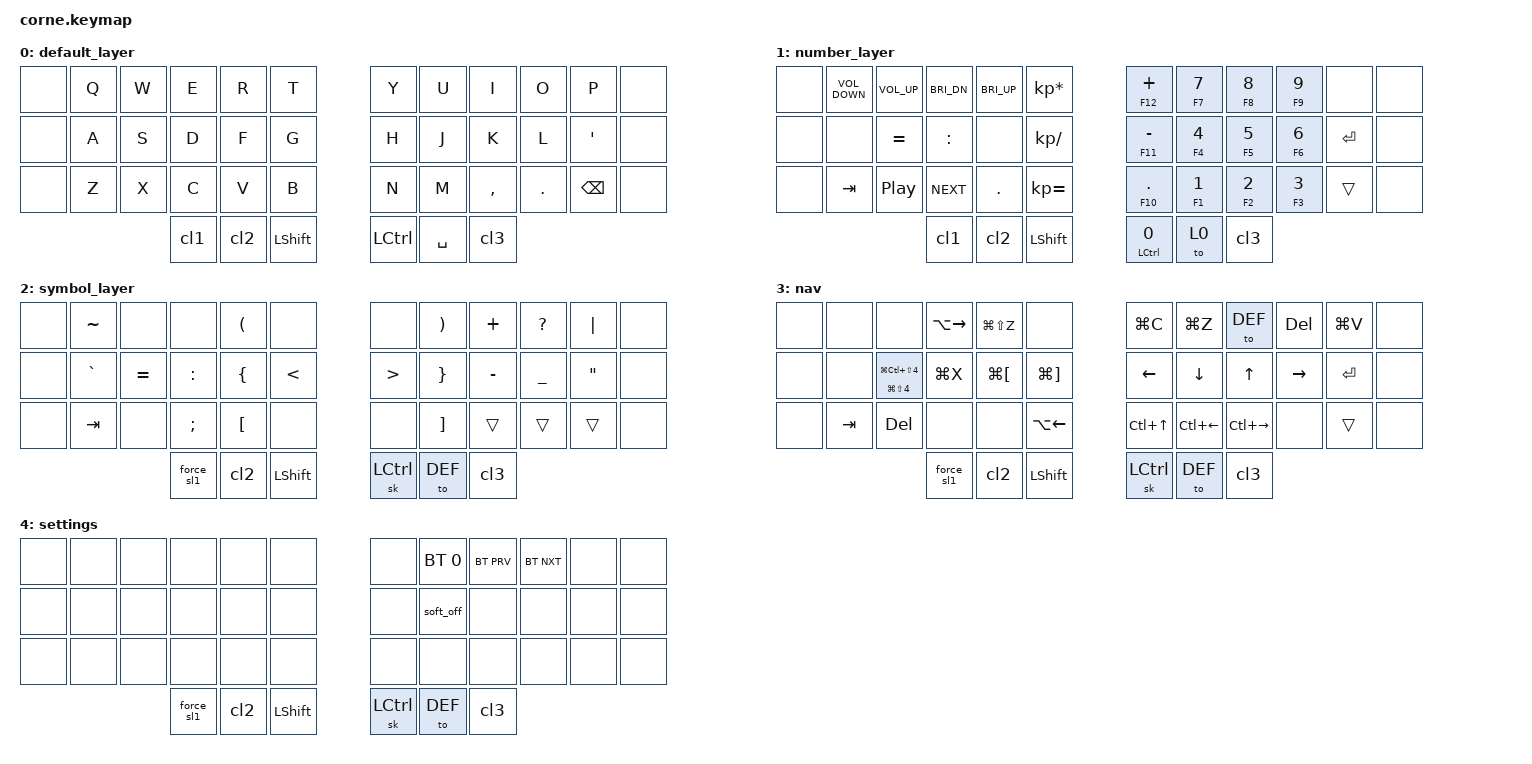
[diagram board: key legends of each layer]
/*=G
 * Copyight (c) 2020 The ZMK Contributors
 *
 * SPDX-License-Identifier: MIT
 */

#include <behaviors.dtsi>
#include <dt-bindings/zmk/keys.h>
#include <dt-bindings/zmk/bt.h>

#define DEF 0  // layer shortcuts, must match order in which they are defined below
#define NUM 1
#define SYM 2
#define NAV 3
#define SET 4

#define MO_TO(layer) &mo_to layer layer   // Macro to apply momentary-layer-on-hold/to-layer-on-tap to a specific layer

&mt {
  flavor = "tap-preferred";
  tapping-term-ms = <300>; 
  quick-tap-ms = <125>;
  
};

/ {
  macros {
      // force_sticky resets to default layer so that higher layers don't take priority
      force_sl1: force_sticky_sl1 {
          label = "JK_force_sticky_sl1";
          compatible = "zmk,behavior-macro";
          #binding-cells = <0>;
          wait-ms = <0>;
          bindings
            = <&to 0>
            , <&cl1>
            ;
      };
      force_sl2: force_sticky_sl2 {
          label = "JK_force_sticky_sl2";
          compatible = "zmk,behavior-macro";
          #binding-cells = <0>;
          wait-ms = <0>;
          bindings
            = <&to 0>
            , <&cl2>
            ;
      };
  };
  behaviors {
    // momentary on hold, toggle on tap
mo_to: behavior_mo_to {
         compatible = "zmk,behavior-hold-tap";
         label = "mo_to";
#binding-cells = <2>;
         flavor = "hold-preferred";
         tapping-term-ms = <200>;
         bindings = <&mo>, <&to>;
       };


ht: hold_tap {
      compatible = "zmk,behavior-hold-tap";
      label = "HOLD_TAP";
#binding-cells = <2>;
      tapping-term-ms = <200>;
      quick-tap-ms = <150>;
      flavor = "tap-preferred";
      bindings = <&kp>, <&kp>;
    };

    // tap: sticky layer 1 | double tap: toggle layer 1
cl1: cl1 {
       compatible = "zmk,behavior-tap-dance";
       label = "TD_LAYER_1";
#binding-cells = <0>;
       tapping-term-ms = <200>;
       bindings = <&sl 1>, <&to 1>;
     };

     // tap: sticky layer 2 | double tap: toggle layer 2
cl2: cl2 {
       compatible = "zmk,behavior-tap-dance";
       label = "TD_LAYER_2";
#binding-cells = <0>;
       tapping-term-ms = <200>;
       bindings = <&sl 2>, <&to 2>;
     };

     // tap: sticky layer 3 | double tap: toggle layer 3
cl3: cl3 {
       compatible = "zmk,behavior-tap-dance";
       label = "TD_LAYER_3";
#binding-cells = <0>;
       tapping-term-ms = <200>;
       bindings = <&sl 3>, <&to 3>;
     };
  };

  keymap {
    compatible = "zmk,keymap";

    default_layer {
      // -----------------------------------------------------------------------------------------
      // | NONE |  Q  |  W  |  E  |  R  |  T  |||||  Y  |  U   |  I  |  O  |  P   | NONE |
      // | NONE |  A  |  S  |  D  |  F  |  G  |||||  H  |  J   |  K  |  L  |  '   | NONE |
      // | NONE |  Z  |  X  |  C  |  V  |  B  |||||  N  |  M   |  ,  |  .  | BSPC | NONE |
      //                    | num | sym | SHFT||||| CTRL | SPC  | NAV |

      bindings = <
        &none   &kp Q   &kp W   &kp E   &kp R      &kp T      &kp Y      &kp U      &kp I    &kp O     &kp P   &none
        &none   &kp A   &kp S   &kp D   &kp F      &kp G      &kp H      &kp J      &kp K    &kp L   &kp SQT   &none
        &none   &kp Z   &kp X   &kp C   &kp V      &kp B      &kp N      &kp M  &kp COMMA  &kp DOT  &kp BSPC   &none
        &cl1   &cl2  &kp LSHFT                      &kp LCTRL &kp SPACE    &cl3
        >;
    };

    number_layer {
      // -----------------------------------------------------------------------------------------
      // | NONE |vol-|vol+|bri-|bri+|    |||||  +  |  7  |  8  |  9  |  nav   | NONE |
      // | NONE |    | =  | :  |    |    |||||  -  |  4  |  5  |  6  |  enter | NONE | 
      // | NONE |TAB |    |    |    |    |||||  .  |  1  |  2  |  3  |  BSPC  | NONE |
      //                  |    |    |    |||||  0  | to0  |     |

      bindings = <
        &none  &kp C_VOLUME_DOWN   &kp C_VOLUME_UP  &kp C_BRI_DN  &kp C_BRI_UP   &kp KP_MULTIPLY  &ht F12 PLUS         &ht F7 NUMBER_7  &ht F8 NUMBER_8  &ht F9 NUMBER_9    &none     &none
        &none  &none               &kp EQUAL        &kp COLON     &none          &kp KP_DIVIDE    &ht F11 MINUS        &ht F4 NUMBER_4  &ht F5 NUMBER_5  &ht F6 NUMBER_6    &kp ENTER &none
        &none  &kp TAB             &kp C_PLAY_PAUSE &kp C_NEXT    &kp PERIOD     &kp KP_EQUAL     &ht F10 PERIOD       &ht F1 NUMBER_1  &ht F2 NUMBER_2  &ht F3 NUMBER_3    &trans    &none
        &cl1   &cl2  &kp LSHFT &mt LCTRL NUMBER_0  &to 0    &cl3
        >;
    };

    symbol_layer {
      // -----------------------------------------------------------------------------------------
      //  combos|  !  |  @  |  #  |  $  |  %  |||||  ^  |  &  |  *  |  /  |  \  |      |

      // | NONE |  ~  |     |     |  (  |     |||||     |  )  |  +  |  ?  | '|' | NONE |
      // | NONE |  `  |  =  |  :  |  {  |  <  |||||  >  |  }  |  -  |  _  |  "  | NONE |
      // | NONE | TAB |     |  ;  |  [  |     |||||     |  ]  |  ,  |  .  | BSPC| NONE |
      //                    | num | sym |SHFT ||||| CTRL| to0 | NAV |

      bindings = <
        &none  &kp TILDE  &none       &none       &kp LEFT_PARENTHESIS  &none      &none  &kp RIGHT_PARENTHESIS  &kp PLUS  &kp QMARK  &kp PIPE          &none
        &none  &kp GRAVE  &kp EQUAL   &kp COLON   &kp LEFT_BRACE        &kp LT     &kp GT &kp RIGHT_BRACE        &kp MINUS &kp UNDER  &kp DOUBLE_QUOTES  &none
        &none  &kp TAB    &none       &kp SEMI    &kp LEFT_BRACKET      &none      &none  &kp RIGHT_BRACKET      &trans    &trans     &trans              &none
        &force_sl1   &cl2  &kp LSHFT &sk LCTRL  &to DEF    &cl3
        >;
    };

    nav {
      // -----------------------------------------------------------------------------------------
      // | NONE |     |     |fword| redo|     ||||| yank| undo | to0 | del |paste| NONE |
      // | NONE |     | scr | cut | back| fwd ||||| left| down | up  |right|enter| NONE |
      // | NONE | TAB | del |     |     |bword||||| MC  |desk< |desk> |     | BSPC| NONE |
      //                    | num | sym |SHFT ||||| CTRL | to0 | NAV |
      // scr: tap = region->clipboard (Cmd+Ctrl+Shift+4); hold = region->file (Cmd+Shift+4)

      bindings = <
        &none   &none    &none    &kp LA(RIGHT_ARROW) &kp LG(LS(Z))  &none               &kp LG(C)       &kp LG(Z)             &to DEF                &kp DEL          &kp LG(V)  &none
        &none   &none    &ht LG(LS(N4)) LG(LC(LS(N4)))    &kp LG(X)           &kp LG(LEFT_BRACKET) &kp LG(RIGHT_BRACKET) &kp LEFT_ARROW  &kp DOWN_ARROW        &kp UP_ARROW           &kp RIGHT_ARROW  &kp ENTER  &none
        &none   &kp TAB  &kp DEL  &none               &none          &kp LA(LEFT_ARROW)  &kp LC(UP_ARROW) &kp LC(LEFT_ARROW)    &kp LC(RIGHT_ARROW)    &none            &trans     &none
        &force_sl1    &cl2  &kp LSHFT &sk LCTRL  &to DEF    &cl3
        >;
    };

    settings {
        // enter nav layer from symbol layer by combo pressing 2+3+4
        // clear bt with combo 7+8+9
        // soft-off sits below BT_SEL 0; tap on each half to power down

      bindings = <
        &none   &none  &none  &none  &none  &none    &none      &bt BT_SEL 0    &bt BT_PRV    &bt BT_NXT    &none    &none
        &none   &none  &none  &none  &none  &none    &none    &soft_off  &none    &none    &none    &none
        &none   &none  &none  &none  &none  &none    &none    &none    &none    &none    &none    &none
        &force_sl1   &cl2  &kp LSHFT &sk LCTRL  &to DEF    &cl3
        >;
    };
  };

  // Key numbers
  // -----------------------------------------------------------------------------------------
  // | NONE |  1  |  2  |  3  |  4  |  5  |   |  6  |  7   |  8  |  9  |  10  | NONE |
  // | NONE |  13 |  14 |  15 |  16 |  17 |   |  18 |  19  |  20 |  21 |  22  | NONE |
  // | NONE |  25 |  26 |  27 |  28 |  29 |   |  30 |  31  |  32 |  33 |  34  | NONE |
  //                    | 36  |  37 | 38  |   |  39 |  40  |  41 |

  // Homerow bindings
  combos {
    compatible = "zmk,combos";

    combo_esc {
      key-positions = <13 25>;
      bindings = <&kp ESC>;
      timeout-ms = <30>;
    };

    combo_ret {
      key-positions = <33 34>;
      bindings = <&kp RET>;
      timeout-ms = <30>;
    };

    combo_ret_2 {
      key-positions = <32 33>;
      bindings = <&kp RET>;
      timeout-ms = <35>;
    };

    combo_tab {
      key-positions = <25 26>;
      bindings = <&kp TAB>;
      timeout-ms = <35>;
    };

    combo_tab_2 {
      key-positions = <26 27>;
      bindings = <&kp TAB>;
      timeout-ms = <30>;
    };


    left_command {
      bindings = <&kp LEFT_COMMAND>;
      key-positions = <15 16>;
      timeout-ms = <30>;
    };

    left_alt {
      bindings = <&kp LEFT_ALT>;
      key-positions = <16 14>;
      timeout-ms = <30>;
    };

    left_alt_cmd {
      bindings = <&kp LG(LEFT_ALT)>;
      key-positions = <16 15 14>;
      timeout-ms = <30>;
    };

    right_command {
      bindings = <&kp RIGHT_COMMAND>;
      key-positions = <19 20>;
      timeout-ms = <30>;
    };

    right_alt {
      bindings = <&kp RIGHT_ALT>;
      key-positions = <19 21>;
      timeout-ms = <30>;
    };

    right_alt_cmd {
      bindings = <&kp RG(RIGHT_ALT)>;
      key-positions = <19 20 21>;
      timeout-ms = <30>;
    };
    
    // Navigation helpers
    start_of_line {
      bindings = <&kp LG(RIGHT_ARROW)>;
      key-positions = <4 16>;
      layers = <NAV>;
      timeout-ms = <30>;
    };
    end_of_line {
      bindings = <&kp LG(LEFT_ARROW)>;
      key-positions = <6 18>;
      layers = <NAV>;
      timeout-ms = <30>;
    };

    // settings related comb
    to_set {
      bindings = <&to SET>;
      key-positions = <2 3 4>;
      layers = <NAV>;
      timeout-ms = <30>;
      };
    bt_clr {
      bindings = <&bt BT_CLR>;
      key-positions = <7 8 9>;
      layers = <SET>;
      timeout-ms = <30>;
      };

    // symbols
    cb_excl {
      bindings = <&kp EXCL>;
      key-positions = <1 13>;
      timeout-ms = <30>;
    };

    cb_at {
      bindings = <&kp AT>;
      key-positions = <2 14>;
      timeout-ms = <30>;
    };

    cb_hash {
      bindings = <&kp HASH>;
      key-positions = <3 15>;
      timeout-ms = <30>;
    };

    cb_dllr {
      bindings = <&kp DLLR>;
      key-positions = <4 16>;
      timeout-ms = <30>;
      // $ has special meaning in nav layer
      layers = <DEF NUM SYM>;
    };

    cb_prcnt {
      bindings = <&kp PRCNT>;
      key-positions = <5 17>;
      timeout-ms = <30>;
    };

    cb_caret {
      bindings = <&kp CARET>;
      key-positions = <6 18>;
      timeout-ms = <30>;
      // ^ has special meaning in nav layer
      layers = <DEF NUM SYM>;
    };

    cb_amps {
      bindings = <&kp AMPS>;
      key-positions = <7 19>;
      timeout-ms = <30>;
    };

    cb_mult {
      bindings = <&kp KP_MULTIPLY>;
      key-positions = <8 20>;
      timeout-ms = <30>;
    };

    cb_slash {
      bindings = <&kp SLASH>;
      key-positions = <9 21>;
      timeout-ms = <30>;
    };

    cb_bslash {
      bindings = <&kp BACKSLASH>;
      key-positions = <10 22>;
      timeout-ms = <30>;
    };

    cb_tilde {
      bindings = <&kp TILDE>;
      key-positions = <1 2>;
      timeout-ms = <30>;
    };

    // Typeless dictation: right-pinky squeeze (apostrophe + backspace) → F16
    typeless {
      bindings = <&kp F16>;
      key-positions = <22 34>;
      layers = <DEF>;
      timeout-ms = <30>;
    };
  };
};
